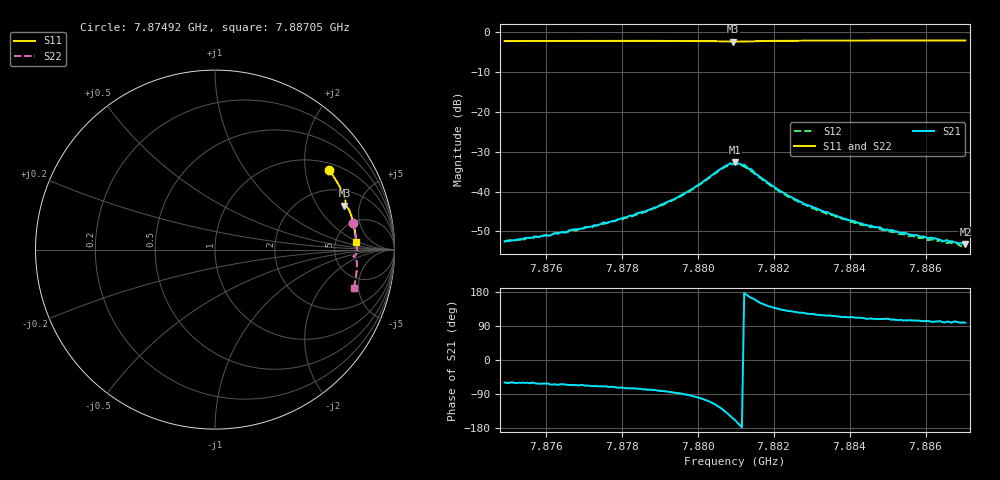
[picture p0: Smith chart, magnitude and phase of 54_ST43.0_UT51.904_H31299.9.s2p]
#  HZ  S  DB  R  50.00
! Rohde & Schwarz Vector Network Analyzer
! Rohde-Schwarz,ZNB20-2Port,1311601062101988,3.16
! Created: UTC 1/12/2023, 6:33:09 PM
! freq[Hz]  db:S11  ang:S11  db:S21  ang:S21  db:S12  ang:S12  db:S22  ang:S22
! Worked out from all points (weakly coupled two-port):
!   201 points, 7.87492 GHz to 7.88705 GHz, reference 50 ohm
!   highest |S21| = -32.66 dB at 7.88098 GHz (marker M1); lowest = -53.1 dB at 7.88705 GHz (marker M2)
!   lowest |S11| = -2.4 dB at 7.88092 GHz (marker M3), VSWR 7.38, Z = 152 + j178 ohm
!   |S11| at or under -10 dB: nowhere
!   |S22| runs from -2.2 to -1.9 dB; largest |S21 - S12| = 0.0022
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7.874919e9  -2.23 34.8  -52.53 -59.3  -52.45 -62.4  -2.14 10.7
7.875344e9  -2.22 33.6  -52.10 -60.4  -51.84 -61.9  -2.13 9.7
7.875405e9  -2.22 33.4  -51.84 -59.6  -52.25 -66.0  -2.13 9.6
7.875526e9  -2.21 33.1  -51.64 -60.0  -51.61 -64.4  -2.12 9.3
7.876982e9  -2.19 29.1  -49.25 -66.1  -49.27 -71.5  -2.08 5.8
7.877831e9  -2.18 26.8  -47.45 -71.4  -47.35 -73.6  -2.06 3.9
7.878983e9  -2.17 23.6  -43.57 -81.2  -43.71 -84.0  -2.04 1.2
7.879772e9  -2.19 21.3  -39.85 -92.6  -40.01 -96.0  -2.06 -0.8
7.880742e9  -2.34 18.8  -33.52 -137.0  -33.73 -140.4  -2.21 -2.9
7.880863e9  -2.36 18.8  -32.88 -148.1  -33.23 -151.4  -2.23 -3.0
7.880924e9  -2.37 18.8  -33.18 -153.7  -33.10 -157.1  -2.24 -2.9
7.880985e9  -2.37 18.8  -32.66 -158.1  -33.08 -163.0  -2.24 -2.9
7.881227e9  -2.33 18.7  -33.26 176.3  -33.78 174.3  -2.21 -2.8
7.882198e9  -2.16 16.2  -40.02 133.0  -40.13 130.1  -2.02 -4.8
7.883047e9  -2.12 13.8  -43.98 121.3  -44.21 117.3  -1.98 -6.9
7.884139e9  -2.11 10.9  -47.42 112.0  -47.92 109.0  -1.95 -9.4
7.885049e9  -2.09 8.5  -49.76 107.9  -50.04 103.8  -1.94 -11.4
7.886444e9  -2.08 4.8  -52.51 99.8  -52.57 96.9  -1.92 -14.4
7.886565e9  -2.08 4.4  -52.16 101.3  -52.88 99.2  -1.92 -14.7
7.886807e9  -2.07 3.8  -52.80 101.1  -52.87 95.3  -1.92 -15.2
7.886929e9  -2.08 3.5  -52.94 98.4  -53.70 97.5  -1.91 -15.4
7.88705e9  -2.07 3.2  -53.13 98.3  -53.68 98.1  -1.91 -15.7
